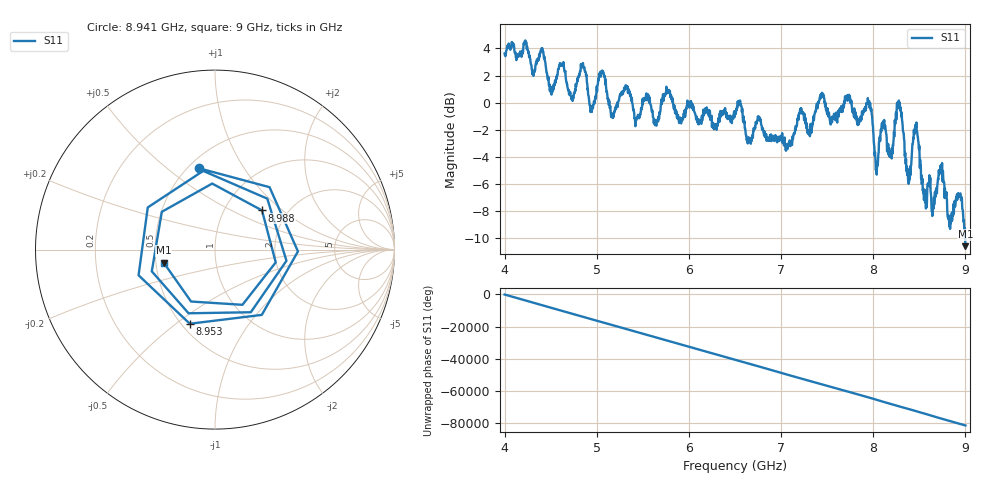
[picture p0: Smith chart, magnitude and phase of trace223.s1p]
! Created with skrf 1.8.0 (http://scikit-rf.org).
# Hz S RI R 50.0
!freq ReS11 ImS11
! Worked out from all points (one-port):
!   1601 points, 4 GHz to 9 GHz, reference 50 ohm
!   lowest |S11| = -10.6 dB at 9 GHz (marker M1), VSWR 1.84, Z = 27.5 - j4.34 ohm
!   |S11| at or under -10 dB: 8.997287 GHz to end of sweep
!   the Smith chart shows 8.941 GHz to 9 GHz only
!   S11 on the Smith chart (normalised r, x): 8.941 GHz: 0.57, +0.65; 8.953 GHz: 0.55, -0.56; 8.988 GHz: 1.49, +0.74; 9 GHz: 0.55, -0.09
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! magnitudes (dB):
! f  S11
! 4 GHz  3.6
! 4.409 GHz  4.0
! 4.509 GHz  0.6
! 4.625 GHz  2.7
! 4.722 GHz  0.4
! 4.85 GHz  2.9
! 4.941 GHz  -0.4
! 5.05 GHz  2.3
! 5.166 GHz  -0.8
! 5.25 GHz  0.5
! 5.875 GHz  -1.2
! 6.5 GHz  -0.7
! 7.125 GHz  -2.5
! 7.75 GHz  0.2
! 7.956 GHz  0.1
! 8.034 GHz  -5.0
! 8.106 GHz  -1.4
! 8.191 GHz  -4.0
! 8.281 GHz  -0.2
! 8.375 GHz  -4.9
! 8.459 GHz  -1.7
! 8.559 GHz  -6.4
! 8.734 GHz  -4.6
! 8.831 GHz  -8.8
! 8.941 GHz  -6.7
! 8.953 GHz  -7.2
! 8.988 GHz  -9.3
! 9 GHz  -10.6
